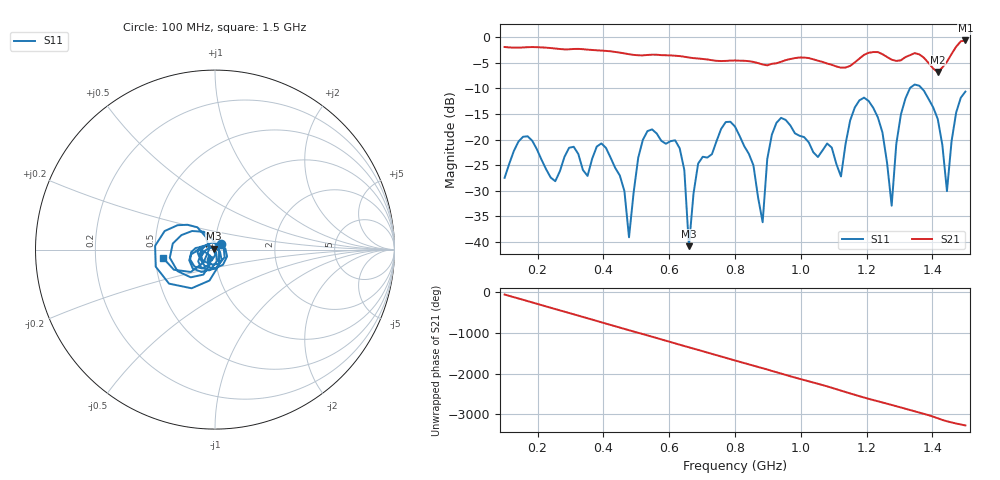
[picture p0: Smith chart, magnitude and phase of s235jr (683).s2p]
! NanoVNA-App
! Date: 2025-09-25 15:09:29
! Start: 100MHz Stop: 1,5GHz Points: 101
! S-Parameter data: F S11 S21 S12 S22
# Hz S RI R 50
!  Frequency  S11_Real  S11_Imag  S21_Real  S21_Imag  S12_Real  S12_Imag  S22_Real  S22_Imag
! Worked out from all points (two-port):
!   101 points, 100 MHz to 1.5 GHz, reference 50 ohm
!   highest |S21| = -0.69 dB at 1.5 GHz (marker M1); lowest = -6.8 dB at 1.416 GHz (marker M2)
!   |S21| within 3 dB of the highest: start of sweep to 622.5 MHz; 1.188 GHz to 1.256 GHz (67.96 MHz wide, 5.56 % of centre) (the widest 2 of 4)
!   lowest |S11| = -40.8 dB at 660 MHz (marker M3), VSWR 1.02, Z = 49.3 + j0.548 ohm
!   |S11| at or under -10 dB: start of sweep to 1.332 GHz; 1.367 GHz to end of sweep
!   S12 and S22 are empty: the file has one direction only
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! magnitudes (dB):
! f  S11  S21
! 100 MHz  -27.5  -2.0
! 170 MHz  -19.4  -2.0
! 338 MHz  -26.0  -2.4
! 408 MHz  -21.6  -2.7
! 478 MHz  -39.1  -3.4
! 520 MHz  -20.1  -3.6
! 576 MHz  -20.3  -3.5
! 632 MHz  -21.7  -3.7
! 660 MHz  -40.8  -4.0
! 688 MHz  -24.7  -4.2
! 800 MHz  -17.5  -4.6
! 884 MHz  -36.1  -5.4
! 926 MHz  -16.7  -5.1
! 1.038 GHz  -22.5  -4.4
! 1.122 GHz  -27.2  -6.0
! 1.192 GHz  -11.8  -3.5
! 1.248 GHz  -18.6  -3.4
! 1.276 GHz  -32.9  -4.4
! 1.332 GHz  -9.9  -3.5
! 1.416 GHz  -16.0  -6.8
! 1.444 GHz  -30.1  -4.8
! 1.5 GHz  -10.7  -0.7
